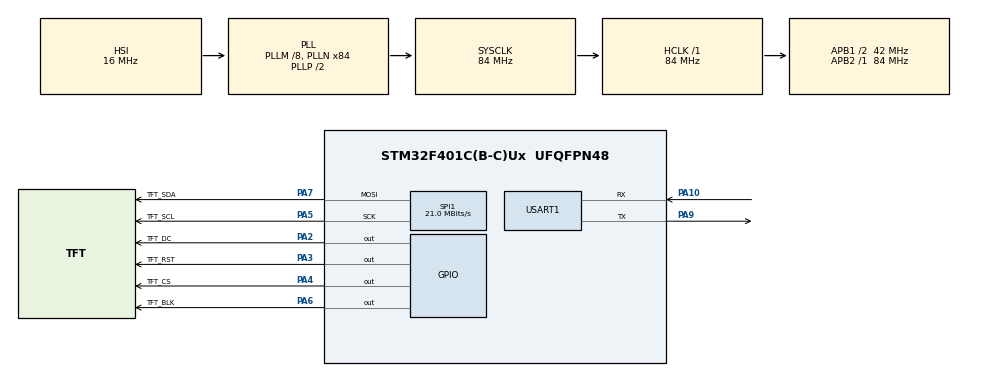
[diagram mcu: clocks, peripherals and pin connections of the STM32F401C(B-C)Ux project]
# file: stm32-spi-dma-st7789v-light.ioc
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Dma.Request0=SPI1_TX
Dma.SPI1_TX.0.Direction=DMA_MEMORY_TO_PERIPH
Dma.SPI1_TX.0.FIFOMode=DMA_FIFOMODE_DISABLE
Dma.SPI1_TX.0.Instance=DMA2_Stream3
Dma.SPI1_TX.0.MemDataAlignment=DMA_MDATAALIGN_BYTE
Dma.SPI1_TX.0.MemInc=DMA_MINC_ENABLE
Dma.SPI1_TX.0.Mode=DMA_NORMAL
Dma.SPI1_TX.0.PeriphDataAlignment=DMA_PDATAALIGN_BYTE
Dma.SPI1_TX.0.PeriphInc=DMA_PINC_DISABLE
Dma.SPI1_TX.0.Priority=DMA_PRIORITY_LOW
Mcu.Family=STM32F4
Mcu.Name=STM32F401C(B-C)Ux
Mcu.Package=UFQFPN48
NVIC.DMA2_Stream3_IRQn=true\:0\:0\:false\:false\:true\:false\:true\:true
NVIC.PriorityGroup=NVIC_PRIORITYGROUP_4
PA10.Mode=Asynchronous
PA10.Signal=USART1_RX
PA2.GPIO_Label=TFT_DC
PA2.Signal=GPIO_Output
PA3.GPIO_Label=TFT_RST
PA3.Signal=GPIO_Output
PA4.GPIO_Label=TFT_CS
PA4.Signal=GPIO_Output
PA5.GPIO_Label=TFT_SCL
PA5.Mode=TX_Only_Simplex_Unidirect_Master
PA5.Signal=SPI1_SCK
PA6.GPIO_Label=TFT_BLK
PA6.Signal=GPIO_Output
PA7.GPIO_Label=TFT_SDA
PA7.Mode=TX_Only_Simplex_Unidirect_Master
PA7.Signal=SPI1_MOSI
PA9.Mode=Asynchronous
PA9.Signal=USART1_TX
ProjectManager.HeapSize=0x200
ProjectManager.StackSize=0x400
ProjectManager.TargetToolchain=CMake
RCC.48MHZClocksFreq_Value=42000000
RCC.AHBFreq_Value=84000000
RCC.APB1CLKDivider=RCC_HCLK_DIV2
RCC.APB1Freq_Value=42000000
RCC.APB1TimFreq_Value=84000000
RCC.APB2Freq_Value=84000000
RCC.APB2TimFreq_Value=84000000
RCC.CortexFreq_Value=84000000
RCC.HCLKFreq_Value=84000000
RCC.HSE_VALUE=25000000
RCC.HSI_VALUE=16000000
RCC.LSE_VALUE=32768
RCC.PLLM=8
RCC.PLLN=84
RCC.SYSCLKFreq_VALUE=84000000
RCC.SYSCLKSource=RCC_SYSCLKSOURCE_PLLCLK
RCC.VCOOutputFreq_Value=168000000
SPI1.BaudRatePrescaler=SPI_BAUDRATEPRESCALER_4
SPI1.CLKPolarity=SPI_POLARITY_LOW
SPI1.CalculateBaudRate=21.0 MBits/s
SPI1.Direction=SPI_DIRECTION_2LINES
SPI1.Mode=SPI_MODE_MASTER
SPI1.VirtualType=VM_MASTER
USART1.VirtualMode=VM_ASYNC
board=custom

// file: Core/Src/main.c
/* USER CODE BEGIN Header */
/**
  ******************************************************************************
  * @file           : main.c
  * @brief          : Main program body
  ******************************************************************************
  * @attention
  *
  * Copyright (c) 2026 STMicroelectronics.
  * All rights reserved.
  *
  * This software is licensed under terms that can be found in the LICENSE file
  * in the root directory of this software component.
  * If no LICENSE file comes with this software, it is provided AS-IS.
  *
  ******************************************************************************
  */
/* USER CODE END Header */
#include "main.h"

/* USER CODE BEGIN Includes */
#include <stdbool.h>
#include <stdio.h>
#include "st7789_driver.h"
#include "gfx.h"
#include "gfx_text.h"
#include "stm32f4xx_hal.h"
/* USER CODE END Includes */

SPI_HandleTypeDef hspi1;
DMA_HandleTypeDef hdma_spi1_tx;

UART_HandleTypeDef huart1;

void SystemClock_Config(void);
static void MX_GPIO_Init(void);
static void MX_DMA_Init(void);
static void MX_SPI1_Init(void);
static void MX_USART1_UART_Init(void);

/* USER CODE BEGIN 0 */
int __io_putchar(int ch) {
    HAL_UART_Transmit(&huart1, (uint8_t *)&ch, 1, 0xFFFF);
    return ch;
}

/* USER CODE END 0 */

int main(void)
{

  /* USER CODE BEGIN 1 */
    CoreDebug->DEMCR |= CoreDebug_DEMCR_TRCENA_Msk; // Enable DWT
    DWT->CYCCNT = 0;                                // Clear counter
    DWT->CTRL = DWT_CTRL_CYCCNTENA_Msk;             // Enable counter
  /* USER CODE END 1 */

  /* MCU Configuration--------------------------------------------------------*/

  /* Reset of all peripherals, Initializes the Flash interface and the Systick. */
  HAL_Init();

  /* Configure the system clock */
  SystemClock_Config();

  /* Initialize all configured peripherals */
  MX_GPIO_Init();
  MX_DMA_Init();
  MX_SPI1_Init();
  MX_USART1_UART_Init();

  /* Infinite loop */
  /* USER CODE BEGIN WHILE */
  printf("Start init st7789V \r\n");

  st7789_spi_connected_data_t spi_data = {
      .spi = &hspi1,
      .dc = {TFT_DC_GPIO_Port, TFT_DC_Pin},
      .cs = {TFT_CS_GPIO_Port, TFT_CS_Pin},
      .rst = {TFT_RST_GPIO_Port, TFT_RST_Pin},
      .blk = {TFT_BLK_GPIO_Port, TFT_BLK_Pin},
  };
  st7789_window_data_t window_data = {
      .width = 240,
      .height = 320,
      .orientation = GFX_ORIENTATION_PORTRAIT,
  };

  st7789_init(&spi_data, &window_data);
  gfx_init();
  printf("End init and set green color \r\n");
  HAL_Delay(1000);
  printf("START WHILE\r\n");

  while (1)
  {
    // gfx_tests();
    gfx_text_tests();
    /* USER CODE END WHILE */

  }
}

void SystemClock_Config(void)
{
  RCC_OscInitTypeDef RCC_OscInitStruct = {0};
  RCC_ClkInitTypeDef RCC_ClkInitStruct = {0};

  /** Configure the main internal regulator output voltage
  */
  __HAL_RCC_PWR_CLK_ENABLE();
  __HAL_PWR_VOLTAGESCALING_CONFIG(PWR_REGULATOR_VOLTAGE_SCALE2);

  /** Initializes the RCC Oscillators according to the specified parameters
  * in the RCC_OscInitTypeDef structure.
  */
  RCC_OscInitStruct.OscillatorType = RCC_OSCILLATORTYPE_HSI;
  RCC_OscInitStruct.HSIState = RCC_HSI_ON;
  RCC_OscInitStruct.HSICalibrationValue = RCC_HSICALIBRATION_DEFAULT;
  RCC_OscInitStruct.PLL.PLLState = RCC_PLL_ON;
  RCC_OscInitStruct.PLL.PLLSource = RCC_PLLSOURCE_HSI;
  RCC_OscInitStruct.PLL.PLLM = 8;
  RCC_OscInitStruct.PLL.PLLN = 84;
  RCC_OscInitStruct.PLL.PLLP = RCC_PLLP_DIV2;
  RCC_OscInitStruct.PLL.PLLQ = 4;
  if (HAL_RCC_OscConfig(&RCC_OscInitStruct) != HAL_OK)
  {
    Error_Handler();
  }

  /** Initializes the CPU, AHB and APB buses clocks
  */
  RCC_ClkInitStruct.ClockType = RCC_CLOCKTYPE_HCLK|RCC_CLOCKTYPE_SYSCLK
                              |RCC_CLOCKTYPE_PCLK1|RCC_CLOCKTYPE_PCLK2;
  RCC_ClkInitStruct.SYSCLKSource = RCC_SYSCLKSOURCE_PLLCLK;
  RCC_ClkInitStruct.AHBCLKDivider = RCC_SYSCLK_DIV1;
  RCC_ClkInitStruct.APB1CLKDivider = RCC_HCLK_DIV2;
  RCC_ClkInitStruct.APB2CLKDivider = RCC_HCLK_DIV1;

  if (HAL_RCC_ClockConfig(&RCC_ClkInitStruct, FLASH_LATENCY_2) != HAL_OK)
  {
    Error_Handler();
  }
}

static void MX_SPI1_Init(void)
{

  /* SPI1 parameter configuration*/
  hspi1.Instance = SPI1;
  hspi1.Init.Mode = SPI_MODE_MASTER;
  hspi1.Init.Direction = SPI_DIRECTION_2LINES;
  hspi1.Init.DataSize = SPI_DATASIZE_8BIT;
  hspi1.Init.CLKPolarity = SPI_POLARITY_LOW;
  hspi1.Init.CLKPhase = SPI_PHASE_1EDGE;
  hspi1.Init.NSS = SPI_NSS_SOFT;
  hspi1.Init.BaudRatePrescaler = SPI_BAUDRATEPRESCALER_4;
  hspi1.Init.FirstBit = SPI_FIRSTBIT_MSB;
  hspi1.Init.TIMode = SPI_TIMODE_DISABLE;
  hspi1.Init.CRCCalculation = SPI_CRCCALCULATION_DISABLE;
  hspi1.Init.CRCPolynomial = 10;
  if (HAL_SPI_Init(&hspi1) != HAL_OK)
  {
    Error_Handler();
  }

}

static void MX_USART1_UART_Init(void)
{

  huart1.Instance = USART1;
  huart1.Init.BaudRate = 115200;
  huart1.Init.WordLength = UART_WORDLENGTH_8B;
  huart1.Init.StopBits = UART_STOPBITS_1;
  huart1.Init.Parity = UART_PARITY_NONE;
  huart1.Init.Mode = UART_MODE_TX_RX;
  huart1.Init.HwFlowCtl = UART_HWCONTROL_NONE;
  huart1.Init.OverSampling = UART_OVERSAMPLING_16;
  if (HAL_UART_Init(&huart1) != HAL_OK)
  {
    Error_Handler();
  }

}

static void MX_DMA_Init(void)
{

  /* DMA controller clock enable */
  __HAL_RCC_DMA2_CLK_ENABLE();

  /* DMA interrupt init */
  /* DMA2_Stream3_IRQn interrupt configuration */
  HAL_NVIC_SetPriority(DMA2_Stream3_IRQn, 0, 0);
  HAL_NVIC_EnableIRQ(DMA2_Stream3_IRQn);

}

static void MX_GPIO_Init(void)
{
  GPIO_InitTypeDef GPIO_InitStruct = {0};

  /* GPIO Ports Clock Enable */
  __HAL_RCC_GPIOA_CLK_ENABLE();

  /*Configure GPIO pin Output Level */
  HAL_GPIO_WritePin(GPIOA, TFT_DC_Pin|TFT_RST_Pin|TFT_CS_Pin|TFT_BLK_Pin, GPIO_PIN_RESET);

  /*Configure GPIO pins : TFT_DC_Pin TFT_RST_Pin TFT_CS_Pin TFT_BLK_Pin */
  GPIO_InitStruct.Pin = TFT_DC_Pin|TFT_RST_Pin|TFT_CS_Pin|TFT_BLK_Pin;
  GPIO_InitStruct.Mode = GPIO_MODE_OUTPUT_PP;
  GPIO_InitStruct.Pull = GPIO_NOPULL;
  GPIO_InitStruct.Speed = GPIO_SPEED_FREQ_LOW;
  HAL_GPIO_Init(GPIOA, &GPIO_InitStruct);

}

void Error_Handler(void)
{
  __disable_irq();
  while (1)
  {
  }
}
